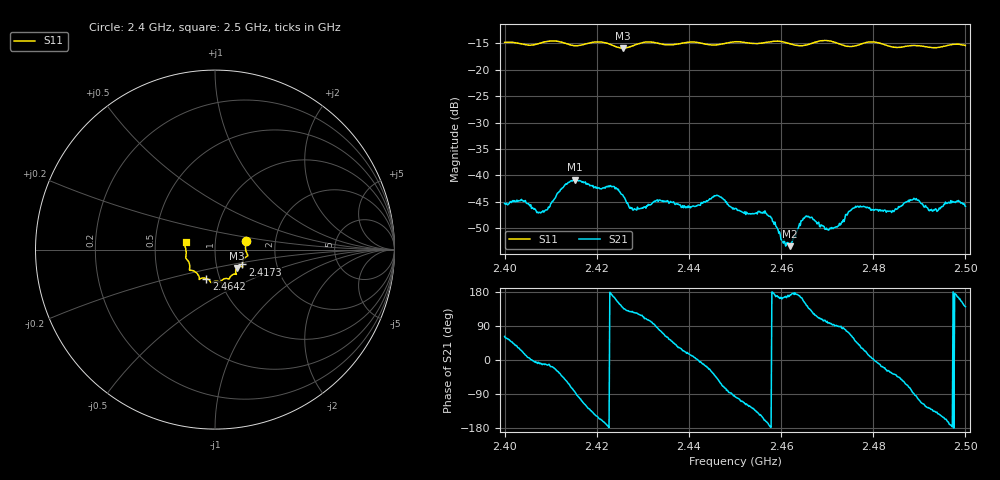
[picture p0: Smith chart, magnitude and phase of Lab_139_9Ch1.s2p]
# Hz S RI R 50
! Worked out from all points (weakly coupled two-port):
!   601 points, 2.4 GHz to 2.5 GHz, reference 50 ohm
!   highest |S21| = -40.80 dB at 2.4153 GHz (marker M1); lowest = -53.4 dB at 2.462 GHz (marker M2)
!   lowest |S11| = -15.9 dB at 2.4257 GHz (marker M3), VSWR 1.38, Z = 62.4 - j13.1 ohm
!   |S11| at or under -10 dB: start of sweep to end of sweep
!   S12 and S22 are empty: the file has one direction only
!   S11 on the Smith chart (normalised r, x): 2.4 GHz: 1.41, +0.14; 2.4173 GHz: 1.34, -0.23; 2.4642 GHz: 0.86, -0.29; 2.5 GHz: 0.72, +0.06
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2.4e9  0.1737 0.0493  0.00254 0.00482  0 0  0 0
2.404e9  0.1715 0.025  0.00541 0.002  0 0  0 0
2.408167e9  0.1788 -0.0227  0.00443 -0.00096  0 0  0 0
2.415333e9  0.1574 -0.0591  0.00065 -0.0091  0 0  0 0
2.416667e9  0.153 -0.0749  -0.00259 -0.00837  0 0  0 0
2.417333e9  0.1522 -0.0825  -0.00376 -0.00772  0 0  0 0
2.425667e9  0.1223 -0.1024  -0.00488 0.00434  0 0  0 0
2.428167e9  0.115 -0.1253  -0.00279 0.00397  0 0  0 0
2.433333e9  0.1127 -0.1365  0.000749 0.00562  0 0  0 0
2.439833e9  0.0803 -0.1628  0.00493 0.00151  0 0  0 0
2.446e9  0.0469 -0.1646  0.00445 -0.00473  0 0  0 0
2.45e9  0.0295 -0.1808  -0.000548 -0.00484  0 0  0 0
2.456667e9  -0.0116 -0.1801  -0.00419 -0.00138  0 0  0 0
2.462e9  -0.0295 -0.1724  -0.00213 0.000297  0 0  0 0
2.464167e9  -0.0482 -0.1611  -0.00327 0.000791  0 0  0 0
2.466667e9  -0.0762 -0.1597  -0.00247 0.00318  0 0  0 0
2.47e9  -0.0875 -0.1663  -0.000645 0.00301  0 0  0 0
2.476167e9  -0.1182 -0.1188  0.00335 0.00387  0 0  0 0
2.483333e9  -0.1408 -0.0898  0.00403 -0.00218  0 0  0 0
2.488833e9  -0.1624 -0.0469  0.00015 -0.00608  0 0  0 0
2.4925e9  -0.1605 -0.0197  -0.00301 -0.00358  0 0  0 0
2.5e9  -0.1638 0.0415  -0.00394 0.00323  0 0  0 0
